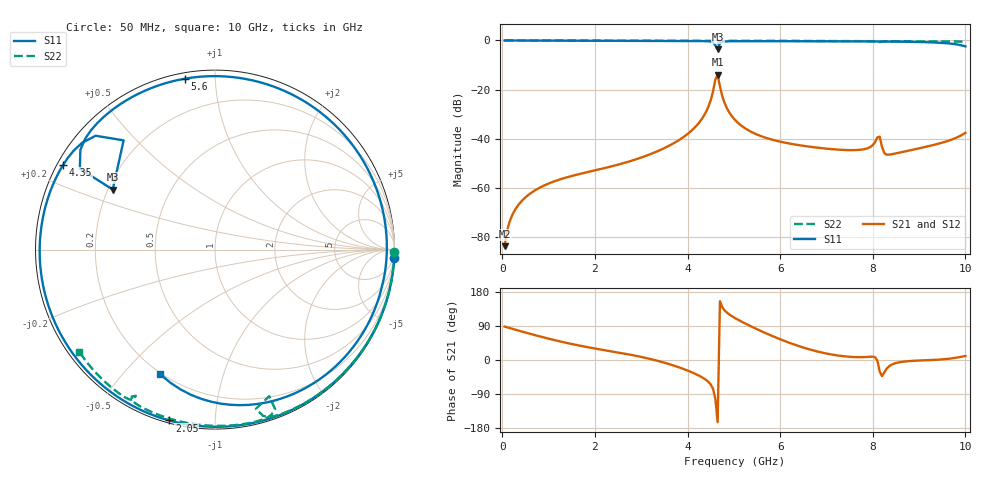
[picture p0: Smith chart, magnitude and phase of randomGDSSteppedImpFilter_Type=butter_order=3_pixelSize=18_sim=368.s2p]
! freq	dB(S11)	phase(S11)	dB(S12)	phase(S12)
!  dB(S21)	phase(S21)	dB(S22)	phase(S22)
!S-par simulation data
#  GHz  S  DB  R 50
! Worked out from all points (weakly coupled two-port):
!   200 points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, 50 MHz to 10 GHz, reference 50 ohm
!   highest |S21| = -13.95 dB at 4.65 GHz (marker M1); lowest = -83.6 dB at 50 MHz (marker M2)
!   lowest |S11| = -3.6 dB at 4.65 GHz (marker M3), VSWR 4.89, Z = 10.9 + j13 ohm
!   |S11| at or under -10 dB: nowhere
!   |S22| runs from -1.2 to 0.0 dB; largest |S21 - S12| = 0
!   S11 on the Smith chart (normalised r, x): 50 MHz: 0, -42; 2.05 GHz: 0.01, -0.77; 4.35 GHz: 0.02, +0.26; 5.6 GHz: 0.03, +0.84; 10 GHz: 0.19, -0.64
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0.05  -0.00 -2.7  -83.64 88.2  -83.64 88.2  -0.00 -0.8
0.25  -0.02 -13.5  -69.69 81.1  -69.69 81.1  -0.01 -4.1
0.55  -0.04 -29.6  -63.00 70.8  -63.00 70.8  -0.01 -9.0
1.15  -0.08 -60.9  -57.09 51.8  -57.09 51.8  -0.02 -18.8
1.75  -0.11 -90.7  -53.92 35.9  -53.92 35.9  -0.04 -28.4
2.05  -0.13 -105.0  -52.60 29.2  -52.60 29.2  -0.04 -33.2
3.4  -0.19 -165.8  -44.63 -3.7  -44.63 -3.7  -0.07 -54.1
4.35  -0.27 150.8  -30.71 -48.3  -30.71 -48.3  -0.12 -69.0
4.55  -0.73 136.4  -20.80 -76.0  -20.80 -76.0  -0.30 -73.8
4.6  -2.01 129.9  -15.93 -102.0  -15.93 -102.0  -0.76 -75.6
4.65  -3.60 149.6  -13.95 -164.1  -13.95 -164.1  -1.20 -69.7
4.7  -1.13 149.1  -18.67 155.1  -18.67 155.1  -0.45 -69.3
4.8  -0.43 139.3  -25.41 131.1  -25.41 131.1  -0.18 -72.5
5.05  -0.30 125.4  -32.79 108.9  -32.79 108.9  -0.13 -77.1
5.6  -0.29 100.0  -38.99 75.6  -38.99 75.6  -0.14 -85.2
6.7  -0.32 50.7  -43.35 25.8  -43.35 25.8  -0.20 -100.2
7.8  -0.37 3.1  -44.25 7.7  -44.25 7.7  -0.28 -114.9
8.15  -0.42 -11.8  -39.13 -30.7  -39.13 -30.7  -0.66 -118.5
8.25  -0.43 -16.0  -45.79 -32.6  -45.79 -32.6  -0.36 -119.4
8.35  -0.44 -20.2  -46.43 -16.8  -46.43 -16.8  -0.32 -121.1
9.4  -0.89 -68.9  -42.07 0.7  -42.07 0.7  -0.41 -135.1
10  -2.40 -113.7  -37.55 10.5  -37.55 10.5  -0.48 -143.0
